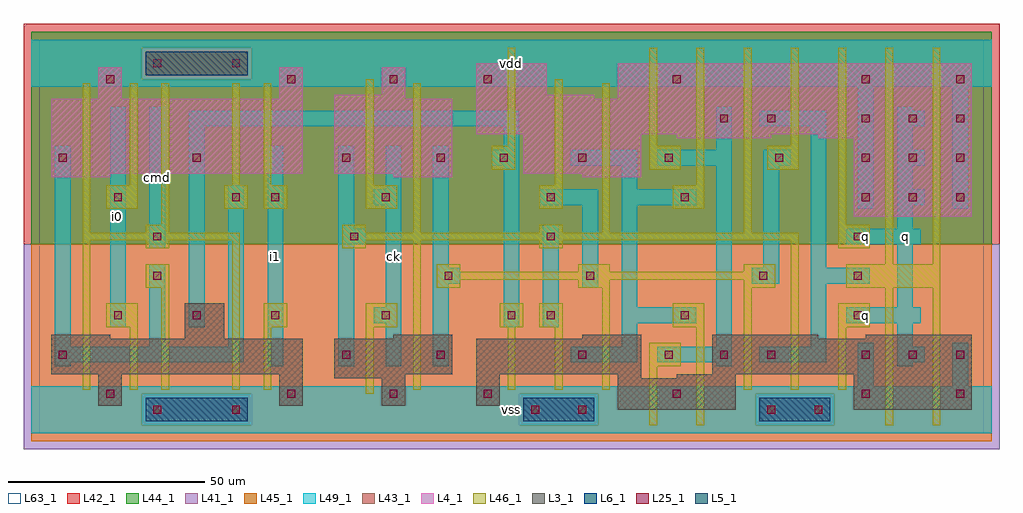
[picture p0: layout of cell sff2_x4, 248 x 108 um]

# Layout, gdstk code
import gdstk
lib = gdstk.Library(unit=1e-6, precision=1e-09)
def R(c, l, rs):  # rectangles x0, y0, x1, y1
    for r in rs: c.add(gdstk.rectangle(r[:2], r[2:], *l))
def A(c, l, x, y, w, h, nx, ny, dx, dy):  # array of equal rectangles
    R(c, l, [(x+i*dx, y+j*dy, x+i*dx+w, y+j*dy+h) for i in range(nx) for j in range(ny)])
L3_1 = (3, 1)
L4_1 = (4, 1)
L5_1 = (5, 1)
L6_1 = (6, 1)
L25_1 = (25, 1)
L41_1 = (41, 1)
L42_1 = (42, 1)
L43_1 = (43, 1)
L44_1 = (44, 1)
L45_1 = (45, 1)
L46_1 = (46, 1)
L49_1 = (49, 1)
L63_1 = (63, 1)

sff2_x4 = lib.new_cell('sff2_x4')
R(sff2_x4, L3_1, [(147,6,177,14), (207,6,237,15), (15,7,21,15), (61,7,67,15), (87,7,93,14), (111,7,117,15), (75,14,93,15), (147,14,153,15), (162,14,177,15), (3,15,67,24), (75,15,105,24), (111,15,153,24), (171,15,237,24), (3,24,18,25), (37,24,47,33), (90,24,105,25), (138,24,153,25), (171,24,198,25), (210,24,237,25)])
R(sff2_x4, L4_1, [(207,55,237,75), (3,65,18,66), (90,65,105,66), (138,65,153,66), (3,66,67,85), (75,66,105,85), (123,66,153,76), (162,75,186,76), (198,75,237,76), (111,76,237,85), (15,85,21,93), (61,85,67,93), (75,85,93,86), (111,85,141,86), (147,85,237,94), (87,86,93,93), (111,86,129,94)])
R(sff2_x4, L5_1, [(27,91,53,97)])
R(sff2_x4, L6_1, [(27,3,53,9), (27,3,53,9), (123,3,141,9), (123,3,141,9), (183,3,201,9), (183,3,201,9)])
A(sff2_x4, L25_1, 113, 9, 2, 2, 3, 2, 48, 80)
A(sff2_x4, L25_1, 209, 19, 2, 2, 3, 2, 12, 40)
A(sff2_x4, L25_1, 19, 29, 2, 2, 3, 1, 20, 0)
A(sff2_x4, L25_1, 207, 29, 2, 2, 1, 3, 0, 10)
A(sff2_x4, L25_1, 29, 49, 2, 2, 3, 1, 50, 0)
A(sff2_x4, L25_1, 209, 69, 2, 2, 3, 2, 12, 10)
R(sff2_x4, L25_1, [(29,5,31,7), (49,5,51,7), (125,5,127,7), (137,5,139,7), (185,5,187,7), (197,5,199,7), (17,9,19,11), (63,9,65,11), (89,9,91,11), (233,9,235,11), (5,19,7,21), (77,19,79,21), (101,19,103,21), (137,19,139,21), (159,19,161,21), (173,19,175,21), (185,19,187,21), (87,29,89,31), (119,29,121,31), (129,29,131,31), (163,29,165,31), (29,39,31,41), (103,39,105,41), (139,39,141,41), (183,39,185,41), (19,59,21,61), (49,59,51,61), (59,59,61,61), (87,59,89,61), (129,59,131,61), (163,59,165,61), (5,69,7,71), (39,69,41,71), (77,69,79,71), (101,69,103,71), (117,69,119,71), (137,69,139,71), (159,69,161,71), (187,69,189,71), (173,79,175,81), (185,79,187,81), (17,89,19,91), (63,89,65,91), (89,89,91,91), (233,89,235,91), (29,93,31,95), (49,93,51,95)])
R(sff2_x4, L41_1, [(-4,-4,244,48)])
R(sff2_x4, L42_1, [(-4,48,244,104)])
R(sff2_x4, L43_1, [(27,3,53,9), (123,3,141,9), (183,3,201,9), (147,6,177,14), (207,6,237,15), (15,7,21,15), (61,7,67,15), (87,7,93,14), (111,7,117,15), (75,14,93,15), (147,14,153,15), (162,14,177,15), (3,15,67,24), (75,15,105,24), (111,15,153,24), (171,15,237,24), (3,24,18,25), (37,24,47,33), (90,24,105,25), (138,24,153,25), (171,24,198,25), (210,24,237,25), (207,55,237,75), (3,65,18,66), (90,65,105,66), (138,65,153,66), (3,66,67,85), (75,66,105,85), (123,66,153,76), (162,75,186,76), (198,75,237,76), (111,76,237,85), (15,85,21,93), (61,85,67,93), (75,85,93,86), (111,85,141,86), (147,85,237,94), (87,86,93,93), (111,86,129,94), (27,91,53,97)])
R(sff2_x4, L44_1, [(26,2,54,10), (122,2,142,10), (182,2,202,10), (-2,48,242,90), (-2,90,26,98), (54,90,242,98), (-2,98,242,102)])
R(sff2_x4, L45_1, [(-2,-2,242,2), (-2,2,26,10), (54,2,122,10), (142,2,182,10), (202,2,242,10), (-2,10,242,48), (26,90,54,98)])
A(sff2_x4, L46_1, 27, 47, 6, 2, 3, 2, 50, 4)
A(sff2_x4, L46_1, 119, 73, 2, 25, 3, 1, 36, 0)
R(sff2_x4, L46_1, [(155,2,157,17), (167,2,169,27), (215,2,217,37), (227,2,229,37), (83,10,85,27), (11,11,13,49), (23,11,25,27), (31,11,33,37), (49,11,51,49), (57,11,59,27), (95,11,97,49), (119,11,121,27), (131,11,133,27), (143,11,145,37), (179,11,181,37), (191,11,193,49), (203,11,205,27), (155,17,163,23), (17,27,25,33), (57,27,63,33), (83,27,91,33), (117,27,123,33), (127,27,133,33), (161,27,169,33), (203,27,211,33), (27,37,33,43), (101,37,107,39), (137,37,145,39), (179,37,187,39), (205,37,229,43), (101,39,187,41), (101,41,107,43), (137,41,145,43), (179,41,187,43), (215,43,217,98), (227,43,229,98), (203,47,211,53), (11,49,51,51), (77,49,193,51), (11,51,13,89), (95,51,97,89), (143,51,145,89), (179,51,181,98), (31,53,33,89), (203,53,205,98), (17,57,25,63), (47,57,53,63), (57,57,63,63), (83,57,91,63), (127,57,133,63), (161,57,169,63), (23,63,25,89), (49,63,51,89), (57,63,59,89), (83,63,85,90), (131,63,133,90), (167,63,169,98), (115,67,121,73), (155,67,163,73), (185,67,193,73)])
A(sff2_x4, L49_1, 218, 52, 4, 6, 1, 3, 0, 10)
A(sff2_x4, L49_1, 218, 58, 7, 4, 1, 3, 0, 10)
R(sff2_x4, L49_1, [(-2,0,242,12), (208,12,212,23), (232,12,236,23), (4,17,8,18), (58,17,62,73), (76,17,80,48), (88,17,92,28), (100,17,104,38), (172,17,176,18), (218,17,222,18), (4,18,52,22), (135,18,152,22), (157,18,176,22), (183,18,200,22), (218,18,225,22), (4,22,8,73), (28,22,32,43), (48,22,52,63), (148,22,152,28), (172,22,176,68), (196,22,200,38), (218,22,222,28), (18,27,22,83), (38,27,42,78), (118,27,122,68), (128,27,132,53), (85,28,92,32), (148,28,167,32), (205,28,224,32), (88,32,92,58), (148,32,152,58), (218,32,222,48), (138,37,142,58), (100,38,107,42), (181,38,188,42), (196,38,211,42), (100,42,104,73), (184,42,188,68), (196,42,200,78), (28,47,32,83), (76,48,83,52), (205,48,224,52), (76,52,80,73), (208,57,212,88), (232,57,236,88), (85,58,92,62), (127,58,142,62), (148,58,167,62), (88,62,92,73), (148,62,152,68), (115,68,122,72), (135,68,152,72), (157,68,176,72), (184,68,191,72), (118,72,122,78), (172,72,176,83), (38,78,122,82), (183,78,200,82), (218,82,222,83), (-2,88,242,100)])
R(sff2_x4, L63_1, [(0,0,240,100)])
sff2_x4.add(gdstk.Label('i0', (20,55), layer=49, texttype=1))
sff2_x4.add(gdstk.Label('cmd', (30,65), layer=49, texttype=1))
sff2_x4.add(gdstk.Label('ck', (90,45), layer=49, texttype=1))
sff2_x4.add(gdstk.Label('i1', (60,45), layer=49, texttype=1))
sff2_x4.add(gdstk.Label('vss', (120,6), layer=49, texttype=1))
sff2_x4.add(gdstk.Label('vdd', (120,94), layer=49, texttype=1))
sff2_x4.add(gdstk.Label('q', (210,30), layer=49, texttype=1))
sff2_x4.add(gdstk.Label('q', (220,50), layer=49, texttype=1))
sff2_x4.add(gdstk.Label('q', (210,50), layer=49, texttype=1))

lib.write_gds('sff2_x4.gds')
